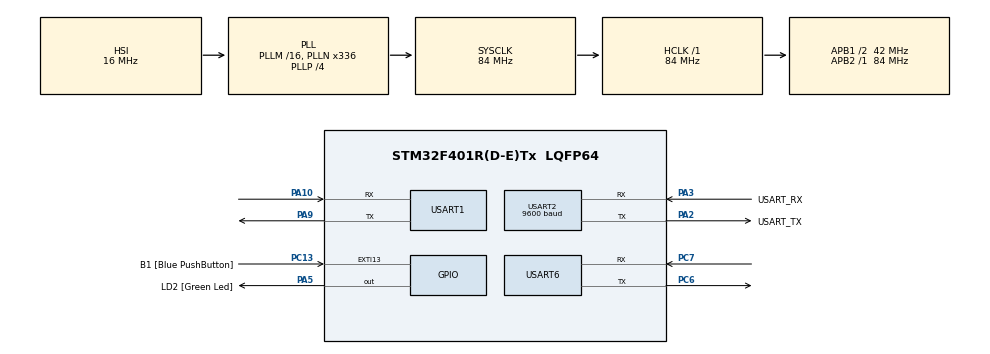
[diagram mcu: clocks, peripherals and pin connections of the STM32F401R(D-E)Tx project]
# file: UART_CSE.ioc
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Dma.Request0=USART2_RX
Dma.USART2_RX.0.Direction=DMA_PERIPH_TO_MEMORY
Dma.USART2_RX.0.FIFOMode=DMA_FIFOMODE_DISABLE
Dma.USART2_RX.0.Instance=DMA1_Stream5
Dma.USART2_RX.0.MemDataAlignment=DMA_MDATAALIGN_BYTE
Dma.USART2_RX.0.MemInc=DMA_MINC_DISABLE
Dma.USART2_RX.0.Mode=DMA_NORMAL
Dma.USART2_RX.0.PeriphDataAlignment=DMA_PDATAALIGN_BYTE
Dma.USART2_RX.0.PeriphInc=DMA_PINC_DISABLE
Dma.USART2_RX.0.Priority=DMA_PRIORITY_LOW
Mcu.Family=STM32F4
Mcu.Name=STM32F401R(D-E)Tx
Mcu.Package=LQFP64
NVIC.DMA1_Stream5_IRQn=true\:0\:0\:false\:false\:true\:false\:true\:true
NVIC.PriorityGroup=NVIC_PRIORITYGROUP_0
NVIC.USART1_IRQn=true\:0\:0\:false\:false\:true\:true\:true\:true
NVIC.USART6_IRQn=true\:0\:0\:false\:false\:true\:true\:true\:true
PA10.Mode=Asynchronous
PA10.Signal=USART1_RX
PA13.GPIO_Label=TMS
PA13.Mode=Serial_Wire
PA13.Signal=SYS_JTMS-SWDIO
PA14.GPIO_Label=TCK
PA14.Mode=Serial_Wire
PA14.Signal=SYS_JTCK-SWCLK
PA2.GPIO_Label=USART_TX
PA2.GPIO_Mode=GPIO_MODE_AF_PP
PA2.GPIO_PuPd=GPIO_NOPULL
PA2.GPIO_Speed=GPIO_SPEED_FREQ_LOW
PA2.Mode=Asynchronous
PA2.Signal=USART2_TX
PA3.GPIO_Label=USART_RX
PA3.GPIO_Mode=GPIO_MODE_AF_PP
PA3.GPIO_PuPd=GPIO_NOPULL
PA3.GPIO_Speed=GPIO_SPEED_FREQ_LOW
PA3.Mode=Asynchronous
PA3.Signal=USART2_RX
PA5.GPIO_Label=LD2 [Green Led]
PA5.GPIO_Mode=GPIO_MODE_OUTPUT_PP
PA5.GPIO_PuPd=GPIO_NOPULL
PA5.GPIO_Speed=GPIO_SPEED_FREQ_LOW
PA5.Signal=GPIO_Output
PA9.Mode=Asynchronous
PA9.Signal=USART1_TX
PB3.GPIO_Label=SWO
PB3.Signal=SYS_JTDO-SWO
PC13-ANTI_TAMP.GPIO_Label=B1 [Blue PushButton]
PC13-ANTI_TAMP.GPIO_ModeDefaultEXTI=GPIO_MODE_IT_FALLING
PC13-ANTI_TAMP.GPIO_PuPd=GPIO_NOPULL
PC13-ANTI_TAMP.Signal=GPXTI13
PC14-OSC32_IN.Mode=LSE-External-Oscillator
PC14-OSC32_IN.Signal=RCC_OSC32_IN
PC15-OSC32_OUT.Mode=LSE-External-Oscillator
PC15-OSC32_OUT.Signal=RCC_OSC32_OUT
PC6.Mode=Asynchronous
PC6.Signal=USART6_TX
PC7.Mode=Asynchronous
PC7.Signal=USART6_RX
PH0\ -\ OSC_IN.Mode=HSE-External-Clock-Source
PH0\ -\ OSC_IN.Signal=RCC_OSC_IN
PH1\ -\ OSC_OUT.Mode=HSE-External-Clock-Source
PH1\ -\ OSC_OUT.Signal=RCC_OSC_OUT
ProjectManager.HeapSize=0x200
ProjectManager.StackSize=0x400
ProjectManager.TargetToolchain=STM32CubeIDE
RCC.48MHZClocksFreq_Value=48000000
RCC.AHBFreq_Value=84000000
RCC.APB1CLKDivider=RCC_HCLK_DIV2
RCC.APB1Freq_Value=42000000
RCC.APB1TimFreq_Value=84000000
RCC.APB2Freq_Value=84000000
RCC.APB2TimFreq_Value=84000000
RCC.CortexFreq_Value=84000000
RCC.HCLKFreq_Value=84000000
RCC.HSE_VALUE=8000000
RCC.HSI_VALUE=16000000
RCC.PLLN=336
RCC.PLLP=RCC_PLLP_DIV4
RCC.PLLQ=7
RCC.SYSCLKFreq_VALUE=84000000
RCC.SYSCLKSource=RCC_SYSCLKSOURCE_PLLCLK
RCC.VCOOutputFreq_Value=336000000
USART1.VirtualMode=VM_ASYNC
USART2.BaudRate=9600
USART2.VirtualMode=VM_ASYNC
USART6.VirtualMode=VM_ASYNC
VP_CRC_VS_CRC.Mode=CRC_Activate
board=NUCLEO-F401RE

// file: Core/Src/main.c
/* USER CODE BEGIN Header */
/**
  ******************************************************************************
  * @file           : main.c
  * @brief          : Main program body
  ******************************************************************************
  * @attention
  *
  * Copyright (c) 2023 STMicroelectronics.
  * All rights reserved.
  *
  * This software is licensed under terms that can be found in the LICENSE file
  * in the root directory of this software component.
  * If no LICENSE file comes with this software, it is provided AS-IS.
  *
  ******************************************************************************
  */
/* USER CODE END Header */
#include "main.h"

/* USER CODE BEGIN Includes */
#include "stdbool.h"
#include "string.h"
#pragma pack(1)
/* USER CODE END Includes */

/* USER CODE BEGIN PD */
#define ORIGEN 2
#define PACKET_DROP -1
#define CRC_FAIL 1
#define PACKET_OK	0
/* USER CODE END PD */

CRC_HandleTypeDef hcrc;

UART_HandleTypeDef huart1;
UART_HandleTypeDef huart2;
UART_HandleTypeDef huart6;
DMA_HandleTypeDef hdma_usart2_rx;

/* USER CODE BEGIN PV */
uint8_t Vector_tx[7]="hola";
uint8_t Vector_rx[7];
uint8_t Valor_parseo;
uint8_t Vector_recepcion[130];
uint8_t* Vector_recepcion_aux;
uint8_t crc_rx[4];
uint8_t* crc_ptr_rx=crc_rx;
uint8_t	contador_recepcion;
uint8_t Direccion[3];
uint8_t* Payload;
uint32_t CRC_calc=0;				//Pasarlo a vector, sino se calcula mal
uint32_t tamanio_a_recibir=128;		//le damos el valor inicial máximo posible, y despues se ajusta al valor real cuando se sepa el size realmente.
uint32_t contador_crc;
bool paquete_listo=false;
int a=0;

int i=0;

struct Encabezado_msg {
    uint8_t nodo_origen;
    uint8_t nodo_destino;
    uint8_t size;
    uint8_t payload[125];			//de 0 a 124 bytes (125 en total).Una lástima por el CRC, se pondrá después
}; //Falta pensar cómo incorporar el payload de tamaño variable, y luego el CRC de 4 bytes fijos.
//Defino todo acá así no hay problemas
//Necesito declarar la estructura de la forma larga, para que me permita la inicializacion
 struct Encabezado_msg Encabezado_tx = {
	    .nodo_origen = 0,
	    .nodo_destino = 0,
	    .size = 0,
	    .payload = {0}  // Esto inicializa todos los elementos del arreglo a cero
 };

 struct Encabezado_msg* Encabezado_ptr_tx=&Encabezado_tx;

 struct Encabezado_msg Encabezado_tx_ack = {
	    .nodo_origen = 0,
	    .nodo_destino = 0,
	    .size = 0,
	    .payload = {0}  // Esto inicializa todos los elementos del arreglo a cero
 };

 struct Encabezado_msg* Encabezado_ptr_tx_ack=&Encabezado_tx_ack;

 struct Encabezado_msg Encabezado_rx = {
	    .nodo_origen = 0,
	    .nodo_destino = 0,
	    .size = 0,
	    .payload = {0}  // Esto inicializa todos los elementos del arreglo a cero
 };

 unsigned char* Encabezado_ptr_rx=&Encabezado_rx;		//quiza convenga declararlo como char* así no jode al momento de hacer incrementos

CRC_HandleTypeDef hcrc;

UART_HandleTypeDef huart2;
UART_HandleTypeDef huart6;
DMA_HandleTypeDef hdma_usart2_rx;

/* USER CODE END PV */

void SystemClock_Config(void);
static void MX_GPIO_Init(void);
static void MX_DMA_Init(void);
static void MX_USART2_UART_Init(void);
static void MX_USART6_UART_Init(void);
static void MX_CRC_Init(void);
static void MX_USART1_UART_Init(void);
/* USER CODE BEGIN PFP */
uint8_t convertir_ascii(uint8_t*vector_direccion);
int8_t Receive_handler(void);
void print(void);
void send_ack(bool state, uint8_t direccion_ack);

/* USER CODE END PFP */

int main(void)
{
  /* USER CODE BEGIN 1 */
//Resultados de testeos domingo:
	//Todo OK. El CRC de la manera que lo calculo, lo mando, y lo recibo y comparo, esta todo ok.
	//Quiza me cause diferencias con los demás.

  /* USER CODE END 1 */

  /* MCU Configuration--------------------------------------------------------*/

  /* Reset of all peripherals, Initializes the Flash interface and the Systick. */
  HAL_Init();

  /* Configure the system clock */
  SystemClock_Config();

  /* Initialize all configured peripherals */
  MX_GPIO_Init();
  MX_DMA_Init();
  MX_USART2_UART_Init();
  MX_USART6_UART_Init();
  MX_CRC_Init();
  MX_USART1_UART_Init();
  /* USER CODE BEGIN 2 */
   //Vector_tx[4]='\n';
  //Vector_tx[5]='\r';
  //HAL_UART_Transmit_DMA(&huart2, Vector_tx, sizeof(Vector_tx));

  //Ponemos a escuchar uart6 y recibir por interrupción.
  //Le paso a la API una copia del puntero al vector de recepcion real.
  //En la callback de recepcion, hay que ponerlo a escuchar de nuevo 1 byte.
  //Ojo que en algún lado hay que incrementar el puntero a la estructura.
  HAL_UART_Receive_IT(&huart6, (uint8_t*)Encabezado_ptr_rx, 1);

  //Máquina de estados de recepcion de afuera (rs485):

  //Máquina de estados de recepcion para pc:

  enum states{ESPERANDO_1ER_ENTER, RECIBIENDO_CARACTERES,ENVIANDO_VECTOR};

  enum states state;
  state=ESPERANDO_1ER_ENTER;

  Vector_recepcion_aux=Vector_recepcion;			//El vector aux me queda apuntando a Vector_recepcion

  while(1)					//Bucle de recepcion de enter
							//Conviene hacer máquina de estados: Estado 0: esperando 1er enter, estado 1: anotando vector, pasa al estado 2 al recibir enter, estado 2: enviar vector, ir a estado 1
							//Implementar interrupción para el rx por rs485.
  {
	switch (state){

	case ESPERANDO_1ER_ENTER:
		HAL_UART_Receive_DMA(&huart2, (uint8_t *)&Valor_parseo, 1);	//no bloqueante
		//HAL_UART_Receive(&huart2, (uint8_t *)&Valor_parseo, 1 , HAL_MAX_DELAY);		//Aquí se chequea que lo ingresado no sea un enter
		if(Valor_parseo==0xD)
			{Valor_parseo=0;
			Vector_recepcion[0]=0x0D;							//Le pongo el enter al principio de la recepción como pide el enunciado
			Vector_recepcion_aux++;								//Preparo al puntero para seguir desde ahí.
			//HAL_Delay(30);									//Delay para que no vuele al otro estado estado de 1.
			state=RECIBIENDO_CARACTERES;}						//Quedmaos listos para pasar de estado
		break;

	case RECIBIENDO_CARACTERES:
		HAL_Delay(100);
		HAL_UART_Receive_DMA(&huart2, (uint8_t *)&Valor_parseo, 1);
		//HAL_UART_Receive(&huart2, (uint8_t *)&Valor_parseo, 1 , HAL_MAX_DELAY);		//Aquí se chequea que lo ingresado no sea un enter
		if(Valor_parseo!=0)	//Puesto para poder hacer al sistema no bloqueante.
		{
			if(Valor_parseo==0xD)
				{Valor_parseo=0;
				*Vector_recepcion_aux=0x0D;			//Dejamos en el último valor del vector de recepcion, el valor 0x0D. Recordar que no hay que
				//HAL_Delay(30);					//incrementar porque ya fue incrementado previamente.
				Vector_recepcion_aux=Vector_recepcion;					//Volvemos a darle la dirección del vector original para la siguiente pasada
				state=ENVIANDO_VECTOR;
				break;}
			if(i<127)
				{*Vector_recepcion_aux=Valor_parseo;		//Correccion para evitar doble tecleo de cada tecla
				Vector_recepcion_aux++;
				//HAL_UART_Receive(&huart2, Vector_recepcion_aux++,1, HAL_MAX_DELAY);	//Primero actua, despues incrementa en 1 así sigue cargando a Vector_recepcion
				Valor_parseo=0;
				i++;}														//de forma correcta. Falta limitar a 130 caracteres
			else
				{Vector_recepcion[127]=0x0D;							//Fijamos el último valor en 0x0D (sólo en el caso de llenar todo el vector)
					Vector_recepcion_aux=Vector_recepcion;					//Volvemos a darle la dirección del vector original para la siguiente pasada

					state=ENVIANDO_VECTOR;}	//Pasamos de estado de forma forzosa.

		}

		break;

	case ENVIANDO_VECTOR:
		//Lo primero es conformar el vector direccion y el vector payload
		//En i quedó el tamaño de datos.
		//for(a=1;a<4;a++)
		//{
		//	Direccion[a-1]=Vector_recepcion[a];			//esto quedó al dope porque la funcion convertir_ascii no lo requiere
		//}
		//Direccion quedó formado
		Encabezado_ptr_rx=&Encabezado_rx; //Este reinicio de puntero compensa una incrementacion que no se donde se va. Se produce siempre desp de la primera imresion de msg
		Payload=Vector_recepcion+4;		//El inicio del Payload está en Vector_recepcion +1(enter)+3(bytes de direccion destino).
		//(i-3) tendrá el valor de hasta donde se extiende "Payload".

		//Comienzo a armar la estructura del mensaje

		Encabezado_tx.nodo_origen=ORIGEN;
		Encabezado_tx.nodo_destino= convertir_ascii(Vector_recepcion);	//Se toman los bytes correctos de "Vector_recepcion" en la conversión
		memcpy(Encabezado_tx.payload, Payload, (i-3) );				//Le paso el puntero previamente creado. Luego movemos la cantidad de datos a transmitir. No se puede hacer de otra forma. Tiene Destino, Origen, size de bytes. Todo punteros.
		Encabezado_tx.size=(i-3);

		//Antes de enviar, calculamos CRC
		//Parece que esta función requiere que la cantidad de bytes a hacerle CRC sea divisible por 4 sí o sí.
		//Por ende, hay que rellenar con ceros el vector total hasta lograrlo.
		//Sin embargo, gracias a cómo fue inicializado Encabezado, el resto de payload ya es cero. Asi que no pasa nada
		//size = (i%4>0) ? ((i/4)+1) : (i/4);			//Chequea si el tamaño del vector total es divisible por 4 exacto, o si no lo es, hay que pasar i/4 +1, con ese resto de bytes extra rellenados con cero.
		//Terminamos decidiendo en clase que hacemos CRC de todo, de los 125 bytes con todo relleno con cero.
		HAL_CRC_Init(&hcrc);			//Para que estados pasados de CRC no afecten
		CRC_calc=HAL_CRC_Calculate(&hcrc, (uint32_t*)Encabezado_ptr_tx, (sizeof(Encabezado_tx) / 4));

		//Procedo a transmitir uno tras otro
		HAL_UART_Transmit(&huart6, (uint8_t*)Encabezado_ptr_tx, i, HAL_MAX_DELAY);	//La UART de recepcion se hace sobre la 6!!
		//TODO: pasar CRC_calc a vector y poner parte baja en [0], y parte alta en [3]
		HAL_UART_Transmit(&huart6, (uint8_t*) &CRC_calc, 4, HAL_MAX_DELAY);		//La de impresion por consola, por la 2 (la de la PC)
		//Listorti la parte de envio
		HAL_Delay(300);							//Delay porque si
		//Limpio estructura
		Encabezado_tx.nodo_origen=0;
		Encabezado_tx.nodo_destino=0;
		Encabezado_tx.size=0;
		memset(Encabezado_tx.payload, 0, 125);
		CRC_calc=0;
		memset(Vector_recepcion, 0, 130);		//Se debe limpiar el contenido de Vector_recepcion
		i=0;
		state=ESPERANDO_1ER_ENTER;			//Ojo que alguna variable quiza quedo en un estado raro y haya que volverlo a su inicial.

		//En algún momento de este estado se manda el vector via RS485, y se pasa al estado 1 de nuevo (con un delay si se quiere)
		//La manera mas facik es usar varios UART TRANSMIT de cada campo, uno tras otro, con el size correcto pasandole el puntero, y fue.
		break;
	//Todo: implementar callback de interrupcion UART para recepcion por rs485 (UART 6).

		//Aunque se puede hacer con DMA y queda bonito, nunca se puede saber por interrupción cuando se termino de llenar el vector
		//Me parece mejor hacerlo por interrupción y parsear en la callback.
	}

	Receive_handler();
  }
  /* USER CODE END 2 */

  /* Infinite loop */
  while (1)
  {

  }
}

void SystemClock_Config(void)
{
  RCC_OscInitTypeDef RCC_OscInitStruct = {0};
  RCC_ClkInitTypeDef RCC_ClkInitStruct = {0};

  /** Configure the main internal regulator output voltage
  */
  __HAL_RCC_PWR_CLK_ENABLE();
  __HAL_PWR_VOLTAGESCALING_CONFIG(PWR_REGULATOR_VOLTAGE_SCALE2);

  /** Initializes the RCC Oscillators according to the specified parameters
  * in the RCC_OscInitTypeDef structure.
  */
  RCC_OscInitStruct.OscillatorType = RCC_OSCILLATORTYPE_HSI;
  RCC_OscInitStruct.HSIState = RCC_HSI_ON;
  RCC_OscInitStruct.HSICalibrationValue = RCC_HSICALIBRATION_DEFAULT;
  RCC_OscInitStruct.PLL.PLLState = RCC_PLL_ON;
  RCC_OscInitStruct.PLL.PLLSource = RCC_PLLSOURCE_HSI;
  RCC_OscInitStruct.PLL.PLLM = 16;
  RCC_OscInitStruct.PLL.PLLN = 336;
  RCC_OscInitStruct.PLL.PLLP = RCC_PLLP_DIV4;
  RCC_OscInitStruct.PLL.PLLQ = 7;
  if (HAL_RCC_OscConfig(&RCC_OscInitStruct) != HAL_OK)
  {
    Error_Handler();
  }

  /** Initializes the CPU, AHB and APB buses clocks
  */
  RCC_ClkInitStruct.ClockType = RCC_CLOCKTYPE_HCLK|RCC_CLOCKTYPE_SYSCLK
                              |RCC_CLOCKTYPE_PCLK1|RCC_CLOCKTYPE_PCLK2;
  RCC_ClkInitStruct.SYSCLKSource = RCC_SYSCLKSOURCE_PLLCLK;
  RCC_ClkInitStruct.AHBCLKDivider = RCC_SYSCLK_DIV1;
  RCC_ClkInitStruct.APB1CLKDivider = RCC_HCLK_DIV2;
  RCC_ClkInitStruct.APB2CLKDivider = RCC_HCLK_DIV1;

  if (HAL_RCC_ClockConfig(&RCC_ClkInitStruct, FLASH_LATENCY_2) != HAL_OK)
  {
    Error_Handler();
  }
}

static void MX_CRC_Init(void)
{

  hcrc.Instance = CRC;
  if (HAL_CRC_Init(&hcrc) != HAL_OK)
  {
    Error_Handler();
  }

}

static void MX_USART1_UART_Init(void)
{

  huart1.Instance = USART1;
  huart1.Init.BaudRate = 115200;
  huart1.Init.WordLength = UART_WORDLENGTH_8B;
  huart1.Init.StopBits = UART_STOPBITS_1;
  huart1.Init.Parity = UART_PARITY_NONE;
  huart1.Init.Mode = UART_MODE_TX_RX;
  huart1.Init.HwFlowCtl = UART_HWCONTROL_NONE;
  huart1.Init.OverSampling = UART_OVERSAMPLING_16;
  if (HAL_UART_Init(&huart1) != HAL_OK)
  {
    Error_Handler();
  }

}

static void MX_USART2_UART_Init(void)
{

  huart2.Instance = USART2;
  huart2.Init.BaudRate = 9600;
  huart2.Init.WordLength = UART_WORDLENGTH_8B;
  huart2.Init.StopBits = UART_STOPBITS_1;
  huart2.Init.Parity = UART_PARITY_NONE;
  huart2.Init.Mode = UART_MODE_TX_RX;
  huart2.Init.HwFlowCtl = UART_HWCONTROL_NONE;
  huart2.Init.OverSampling = UART_OVERSAMPLING_16;
  if (HAL_UART_Init(&huart2) != HAL_OK)
  {
    Error_Handler();
  }

}

static void MX_USART6_UART_Init(void)
{

  huart6.Instance = USART6;
  huart6.Init.BaudRate = 115200;
  huart6.Init.WordLength = UART_WORDLENGTH_8B;
  huart6.Init.StopBits = UART_STOPBITS_1;
  huart6.Init.Parity = UART_PARITY_NONE;
  huart6.Init.Mode = UART_MODE_TX_RX;
  huart6.Init.HwFlowCtl = UART_HWCONTROL_NONE;
  huart6.Init.OverSampling = UART_OVERSAMPLING_16;
  if (HAL_UART_Init(&huart6) != HAL_OK)
  {
    Error_Handler();
  }

}

static void MX_DMA_Init(void)
{

  /* DMA controller clock enable */
  __HAL_RCC_DMA1_CLK_ENABLE();

  /* DMA interrupt init */
  /* DMA1_Stream5_IRQn interrupt configuration */
  HAL_NVIC_SetPriority(DMA1_Stream5_IRQn, 0, 0);
  HAL_NVIC_EnableIRQ(DMA1_Stream5_IRQn);

}

static void MX_GPIO_Init(void)
{
  GPIO_InitTypeDef GPIO_InitStruct = {0};

  /* GPIO Ports Clock Enable */
  __HAL_RCC_GPIOC_CLK_ENABLE();
  __HAL_RCC_GPIOH_CLK_ENABLE();
  __HAL_RCC_GPIOA_CLK_ENABLE();
  __HAL_RCC_GPIOB_CLK_ENABLE();

  /*Configure GPIO pin Output Level */
  HAL_GPIO_WritePin(LD2_GPIO_Port, LD2_Pin, GPIO_PIN_RESET);

  /*Configure GPIO pin : B1_Pin */
  GPIO_InitStruct.Pin = B1_Pin;
  GPIO_InitStruct.Mode = GPIO_MODE_IT_FALLING;
  GPIO_InitStruct.Pull = GPIO_NOPULL;
  HAL_GPIO_Init(B1_GPIO_Port, &GPIO_InitStruct);

  /*Configure GPIO pin : LD2_Pin */
  GPIO_InitStruct.Pin = LD2_Pin;
  GPIO_InitStruct.Mode = GPIO_MODE_OUTPUT_PP;
  GPIO_InitStruct.Pull = GPIO_NOPULL;
  GPIO_InitStruct.Speed = GPIO_SPEED_FREQ_LOW;
  HAL_GPIO_Init(LD2_GPIO_Port, &GPIO_InitStruct);

}

/* USER CODE BEGIN 4 */

uint8_t convertir_ascii(uint8_t* vector_direccion)
{
	uint8_t destino=0;
	//Recordar que vector_direccion[0] tendria el CR
	destino=(vector_direccion[1]-48)*100 + (vector_direccion[2]-48)*10 + (vector_direccion[3]-48);
	return destino;
}

int8_t Receive_handler(void)
{
	uint8_t direccion_ack=0;
	if(paquete_listo==true)
	{
		if(Encabezado_rx.nodo_destino==ORIGEN)
		{
			HAL_CRC_Init(&hcrc);
			if(HAL_CRC_Calculate(&hcrc, (uint32_t*)Encabezado_ptr_rx, (sizeof(Encabezado_rx) / 4))==*(uint32_t*)crc_rx) //ver esto. El micro es little endian, es posible que el CRC recibido se reciba al reves.
			{
				//1)primero se imprime (se usan valores de encabezado_rx)
				print();
				//2)Limpio estructura: esto deberia hacerse antes de mandar el ack.
				//El único valor que usa ACK de la trama anterior enviada es el origen de donde vino el msg
				direccion_ack=Encabezado_rx.nodo_origen;
				Encabezado_rx.nodo_origen=0;
				Encabezado_rx.nodo_destino=0;
				Encabezado_rx.size=0;
				memset(Encabezado_rx.payload, 0, 125);
				CRC_calc=0;
				//3) Mando ACK. El ACK, si me lo mando a mi mismo, al toque va a interrumpir para recibir. Por ende, Encabezado_rx tiene que estar bien limpio y reseteado.
				send_ack(true, direccion_ack);		//ojo, no hay nadie escuchando acá. El último paso del callback no pone a escuchar, porque eso se hace acá. Y se hace mas abajo

				//4)Aviso que ya no hay paquete nuevo
				paquete_listo=false;		//agregué esto también. Con esto debería andar.
				//Acabo de enviar ack y me lo estoy recibiendo a mi mismo.
				//Este Receive_IT se usaría para eso.
				return (PACKET_OK);
			}
			else
			{
				//1)Limpio estructura
				direccion_ack=Encabezado_rx.nodo_origen;
				Encabezado_rx.nodo_origen=0;
				Encabezado_rx.nodo_destino=0;
				Encabezado_rx.size=0;
				memset(Encabezado_rx.payload, 0, 125);
				CRC_calc=0;
				//2)Mando ack
				send_ack(false, direccion_ack);
				//3)Aviso que ya no hay paquete nuevo
				paquete_listo=false;
				return (CRC_FAIL);
			}
		}
		else
		{
		//1) Limpio estructura
		Encabezado_rx.nodo_origen=0;
		Encabezado_rx.nodo_destino=0;
		Encabezado_rx.size=0;
		memset(Encabezado_rx.payload, 0, 125);
		CRC_calc=0;
		//2)Aviso que ya no hay paquete nuevo
		paquete_listo=false;

		return (PACKET_DROP);
		}
	}
	else
	return 0;

	//fix de bug:
	//contador_recepcion=0;
	//Encabezado_rx.nodo_origen=0;

	return 0;		//para prevenir warning del compilador
}
void print(void)
{
	HAL_UART_Transmit(&huart2, (uint8_t*)&(Encabezado_rx.payload),Encabezado_rx.size , HAL_MAX_DELAY);
}
void send_ack(bool state, uint8_t direccion_ack)
{

	Encabezado_tx_ack.nodo_origen=ORIGEN;
	Encabezado_tx_ack.nodo_destino= direccion_ack;	//Devuelvo ACK al origen del msg original
	Encabezado_tx_ack.size=(state==true)? (2) : (5);				//=size = (i%4>0) ? ((i/4)+1) : (i/4);
	if(state==true)
	memcpy(Encabezado_tx_ack.payload, (unsigned char*)"OK", 2 );	//memcpy requiere punteros en sus argumentos. No se puede hacer de otra forma. Tiene Destino, Origen, size de bytes. Todo punteros.
	else
	memcpy(Encabezado_tx_ack.payload, (unsigned char*)"NO_OK", 5 );

	HAL_CRC_Init(&hcrc);			//Para que estados pasados de CRC no afecten
	CRC_calc=HAL_CRC_Calculate(&hcrc, (uint32_t*)Encabezado_ptr_tx_ack, (sizeof(Encabezado_tx_ack) / 4));
	//Procedo a transmitir uno tras otro
	//MX_USART6_UART_Init();

	if(state)
	HAL_UART_Transmit(&huart6, (uint8_t*)Encabezado_ptr_tx_ack, 5, HAL_MAX_DELAY);	//La UART de recepcion se hace sobre la 6!!
	else
	HAL_UART_Transmit(&huart6, (uint8_t*)Encabezado_ptr_tx_ack, 8, HAL_MAX_DELAY);

	HAL_UART_Transmit(&huart6, (uint8_t*) &CRC_calc, 4, HAL_MAX_DELAY);		//La de impresion por consola, por la 2 (la de la PC)

	HAL_Delay(300);							//Delay porque si
	//Limpiamos las estructuras antes de irnos
	Encabezado_tx_ack.nodo_origen=0;
	Encabezado_tx_ack.nodo_destino=0;
	Encabezado_tx_ack.size=0;
	memset(Encabezado_tx_ack.payload, 0, 125);
	CRC_calc=0;
}
void HAL_UART_RxCpltCallback(UART_HandleTypeDef *huart)
{
	enum states_rs485{RECIBIENDO_PAYLOAD, RECIBIENDO_CRC};

	static enum states_rs485 state_rs485=RECIBIENDO_PAYLOAD;	//Solo se ejecuta esta linea la 1ra vez

	if(huart->Instance==USART6)
	{	//hacer acciones de recepcion
		//Recordar que el primer byte (origen) es recibido por la API UART_Receive_IT.
		//Asi que ya desde el comienzo el origen ya está colocado en la estructura.
		switch(state_rs485)
		{
		case RECIBIENDO_PAYLOAD:

					contador_recepcion++;
					if((Encabezado_rx.size)!=0 && contador_recepcion>=3)
								tamanio_a_recibir=(Encabezado_rx.size)+3;	//tamanio a recibir tiene que arrancar en 128, despues se ajusta.

					if(contador_recepcion<tamanio_a_recibir)
					{
						(unsigned char*)Encabezado_ptr_rx ++;	//Comienzo incrementando el puntero si hay data valida. Aca hay un grave error de incremento.
						HAL_UART_Receive_IT(&huart6, (uint8_t*)Encabezado_ptr_rx, 1);//vuelvo a poner a escuchar
					}
					else
					{	//acá podemos pasar de estado a recibir CRC
						contador_recepcion=0;
						tamanio_a_recibir=128;			//Lo llevamos al valor máximo nuevamente
						Encabezado_ptr_rx=&Encabezado_rx; //Reinicio puntero
						HAL_UART_Receive_IT(&huart6, (uint8_t*)crc_ptr_rx, 1);//Ponemos a escuchar CRC
						state_rs485=RECIBIENDO_CRC;
					}
					break;

		case RECIBIENDO_CRC:

			contador_crc++;	//Contador de bytes de crc
			if(contador_crc<=3)		//<=3 (y no 4)porque ya lo pusimos a escuchar desde el estado anterior
				{crc_ptr_rx++;		//Incremento el puntero antes de darselo a la api de receive (la api de receive ya fue llamada 1 vez en el otro estado)
				HAL_UART_Receive_IT(&huart6, (uint8_t*)crc_ptr_rx, 1);}
			else
			{//El crc ha terminado. Podemos avisar al programa principal.
				contador_crc=0;
				crc_ptr_rx=crc_rx;	//Reinicio puntero
				paquete_listo=true;//Aviso al programa principal para chequeo e impresion de trama.
				//Ponemos a escuchar nuevamente.
				HAL_UART_Receive_IT(&huart6, (uint8_t*)Encabezado_ptr_rx, 1);
				state_rs485=RECIBIENDO_PAYLOAD;
			}
			break;
			}
		}

}

//Pasos para la recepcion:
//1)Recibir todo
//2)Chequear destino
//3)Chequear CRC
//4)Imprimir en pantalla
//5)Mandar OK al emisor. Mandar NO OK unicamente si fallo el CRC.
/* USER CODE END 4 */

void Error_Handler(void)
{
  __disable_irq();
  while (1)
  {
  }
}
